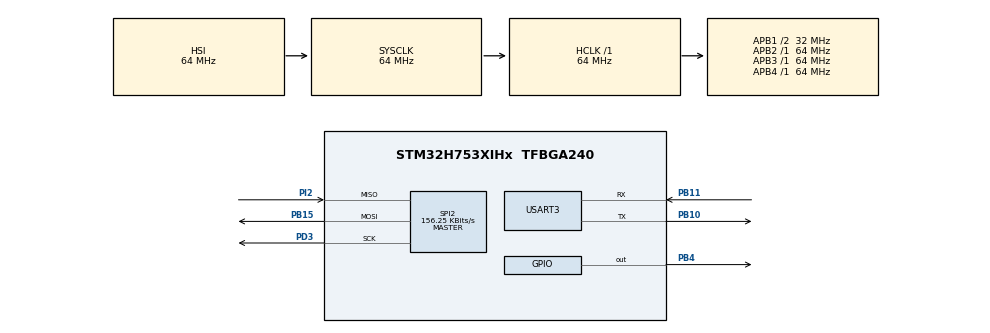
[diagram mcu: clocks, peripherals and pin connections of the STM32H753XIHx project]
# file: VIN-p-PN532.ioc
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CORTEX_M7.default_mode_Activation=1
Mcu.Family=STM32H7
Mcu.Name=STM32H753XIHx
Mcu.Package=TFBGA240
NVIC.PriorityGroup=NVIC_PRIORITYGROUP_4
PB10.Mode=Asynchronous
PB10.Signal=USART3_TX
PB11.Mode=Asynchronous
PB11.Signal=USART3_RX
PB15.Mode=Full_Duplex_Master
PB15.Signal=SPI2_MOSI
PB4\ (NJTRST).PinState=GPIO_PIN_SET
PB4\ (NJTRST).Signal=GPIO_Output
PD3.Mode=Full_Duplex_Master
PD3.Signal=SPI2_SCK
PI2.Mode=Full_Duplex_Master
PI2.Signal=SPI2_MISO
ProjectManager.HeapSize=0x200
ProjectManager.StackSize=0x400
ProjectManager.TargetToolchain=STM32CubeIDE
RCC.ADCFreq_Value=129000000
RCC.APB1Freq_Value=32000000
RCC.APB2Freq_Value=64000000
RCC.APB3Freq_Value=64000000
RCC.APB4Freq_Value=64000000
RCC.CortexFreq_Value=64000000
RCC.D2PPRE1=RCC_APB1_DIV2
RCC.DIVM1=4
RCC.DIVN1=10
RCC.DIVQ1=4
RCC.HCLKFreq_Value=64000000
RCC.SYSCLKFreq_VALUE=64000000
RCC.USBFreq_Value=40000000
SPI2.BaudRatePrescaler=SPI_BAUDRATEPRESCALER_256
SPI2.CalculateBaudRate=156.25 KBits/s
SPI2.DataSize=SPI_DATASIZE_8BIT
SPI2.Direction=SPI_DIRECTION_2LINES
SPI2.FirstBit=SPI_FIRSTBIT_LSB
SPI2.Mode=SPI_MODE_MASTER
SPI2.NSSPMode=SPI_NSS_PULSE_DISABLE
SPI2.VirtualType=VM_MASTER
USART3.VirtualMode-Asynchronous=VM_ASYNC
VP_MEMORYMAP_VS_MEMORYMAP.Mode=CurAppReg
board=custom

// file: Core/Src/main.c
/* USER CODE BEGIN Header */
/**
  ******************************************************************************
  * @file           : main.c
  * @brief          : Main program body
  ******************************************************************************
  * @attention
  *
  * Copyright (c) 2025 STMicroelectronics.
  * All rights reserved.
  *
  * This software is licensed under terms that can be found in the LICENSE file
  * in the root directory of this software component.
  * If no LICENSE file comes with this software, it is provided AS-IS.
  *
  ******************************************************************************
  */
/* USER CODE END Header */
#include "main.h"

/* USER CODE BEGIN Includes */
#include "PN532.h"
#include "spi_pattern.h"
/* USER CODE END Includes */

SPI_HandleTypeDef hspi2;

UART_HandleTypeDef huart3;

/* USER CODE BEGIN PV */
uint8_t uid[] = { 0, 0, 0, 0, 0, 0, 0 };  // Buffer to store the returned UID
uint8_t uidLength;                        // Length of the UID (4 or 7 bytes depending on ISO14443A card type)

uint32_t firmwareVersion = 0;

StatusCode532_t statusCode;

uint8_t txFWversion[128];
uint8_t txUIDLength[128];
uint8_t txUID[32];
uint8_t txData[256];

/* USER CODE END PV */

void SystemClock_Config(void);
static void MPU_Config(void);
static void MX_GPIO_Init(void);
static void MX_SPI2_Init(void);
static void MX_USART3_UART_Init(void);

int main(void)
{

  /* MPU Configuration--------------------------------------------------------*/
  MPU_Config();

  /* MCU Configuration--------------------------------------------------------*/

  /* Reset of all peripherals, Initializes the Flash interface and the Systick. */
  HAL_Init();

  /* Configure the system clock */
  SystemClock_Config();

  /* Initialize all configured peripherals */
  MX_GPIO_Init();
  MX_SPI2_Init();
  MX_USART3_UART_Init();
  /* USER CODE BEGIN 2 */

/*
  while(1){
	  HAL_SPI_Transmit(&hspi2, spi_pattern, sizeof(spi_pattern), HAL_MAX_DELAY);
  }
  */

  //PN532_SPI_Init();
  //oscilloscopeLoop();

  /*****************************************************************************************************
   * 1. Wake-up PN532 and check if it is available by getting its firmware version
   *****************************************************************************************************/
  HAL_UART_Transmit(&huart3, "\nLooking for PN532... \n\0", sizeof("\nLooking for PN532... \n\0"), HAL_MAX_DELAY);
  PN532_SPI_Init();
  while(1) {
	  firmwareVersion = PN532_getFirmwareVersion();
	  if (firmwareVersion != STATUS_532_ERROR) {               // if not able to read version number, quit
		  break;
	  }
	  HAL_Delay(250);
  }

  sprintf(txFWversion, "\nPN532 found. Firmware version: 0x%08X \n\0", firmwareVersion);
  HAL_UART_Transmit(&huart3, txFWversion, sizeof(txFWversion), HAL_MAX_DELAY);

  /*****************************************************************************************************
   * 2. Configure SAM: set normal operation mode and initialize the RF interface
   *****************************************************************************************************/

  HAL_UART_Transmit(&huart3, "\nConfiguring SAM.... \n\0", sizeof("\nConfiguring SAM.... \n\0"), HAL_MAX_DELAY);
  while (PN532_SAMConfiguration() != STATUS_532_OK){
	  HAL_Delay(100);
  }
  HAL_UART_Transmit(&huart3, "\nSAM configured.\n\0", sizeof("\nSAM configured.\n\0"), HAL_MAX_DELAY);

  /* USER CODE END 2 */

  /* Infinite loop */
  /* USER CODE BEGIN WHILE */

  /*****************************************************************************************************
   * 3. Every second check if there is a RFID target present and read the UID
   *****************************************************************************************************/

  while (1)
  {
		statusCode = InListPassiveTarget(uid, &uidLength);
		if (statusCode == STATUS_532_OK) {

			sprintf(txUIDLength, "\nUID Length: %d \n\0", uidLength);
			HAL_UART_Transmit(&huart3, txUIDLength, sizeof(txUIDLength), HAL_MAX_DELAY);
			HAL_UART_Transmit(&huart3, "UID: ", sizeof("UID: "), HAL_MAX_DELAY);
			for (int i = 0; i < uidLength; i++) {
				sprintf(txUID, "0x%X ", uid[i]);
				HAL_UART_Transmit(&huart3, txUID, sizeof(txUID), HAL_MAX_DELAY);
			}
		}
		HAL_Delay(1000);
    /* USER CODE END WHILE */

  }
}

void SystemClock_Config(void)
{
  RCC_OscInitTypeDef RCC_OscInitStruct = {0};
  RCC_ClkInitTypeDef RCC_ClkInitStruct = {0};

  /** Supply configuration update enable
  */
  HAL_PWREx_ConfigSupply(PWR_LDO_SUPPLY);

  /** Configure the main internal regulator output voltage
  */
  __HAL_PWR_VOLTAGESCALING_CONFIG(PWR_REGULATOR_VOLTAGE_SCALE3);

  while(!__HAL_PWR_GET_FLAG(PWR_FLAG_VOSRDY)) {}

  /** Initializes the RCC Oscillators according to the specified parameters
  * in the RCC_OscInitTypeDef structure.
  */
  RCC_OscInitStruct.OscillatorType = RCC_OSCILLATORTYPE_HSI;
  RCC_OscInitStruct.HSIState = RCC_HSI_DIV1;
  RCC_OscInitStruct.HSICalibrationValue = RCC_HSICALIBRATION_DEFAULT;
  RCC_OscInitStruct.PLL.PLLState = RCC_PLL_ON;
  RCC_OscInitStruct.PLL.PLLSource = RCC_PLLSOURCE_HSI;
  RCC_OscInitStruct.PLL.PLLM = 4;
  RCC_OscInitStruct.PLL.PLLN = 10;
  RCC_OscInitStruct.PLL.PLLP = 2;
  RCC_OscInitStruct.PLL.PLLQ = 4;
  RCC_OscInitStruct.PLL.PLLR = 2;
  RCC_OscInitStruct.PLL.PLLRGE = RCC_PLL1VCIRANGE_3;
  RCC_OscInitStruct.PLL.PLLVCOSEL = RCC_PLL1VCOMEDIUM;
  RCC_OscInitStruct.PLL.PLLFRACN = 0;
  if (HAL_RCC_OscConfig(&RCC_OscInitStruct) != HAL_OK)
  {
    Error_Handler();
  }

  /** Initializes the CPU, AHB and APB buses clocks
  */
  RCC_ClkInitStruct.ClockType = RCC_CLOCKTYPE_HCLK|RCC_CLOCKTYPE_SYSCLK
                              |RCC_CLOCKTYPE_PCLK1|RCC_CLOCKTYPE_PCLK2
                              |RCC_CLOCKTYPE_D3PCLK1|RCC_CLOCKTYPE_D1PCLK1;
  RCC_ClkInitStruct.SYSCLKSource = RCC_SYSCLKSOURCE_HSI;
  RCC_ClkInitStruct.SYSCLKDivider = RCC_SYSCLK_DIV1;
  RCC_ClkInitStruct.AHBCLKDivider = RCC_HCLK_DIV1;
  RCC_ClkInitStruct.APB3CLKDivider = RCC_APB3_DIV1;
  RCC_ClkInitStruct.APB1CLKDivider = RCC_APB1_DIV2;
  RCC_ClkInitStruct.APB2CLKDivider = RCC_APB2_DIV1;
  RCC_ClkInitStruct.APB4CLKDivider = RCC_APB4_DIV1;

  if (HAL_RCC_ClockConfig(&RCC_ClkInitStruct, FLASH_LATENCY_1) != HAL_OK)
  {
    Error_Handler();
  }
}

static void MX_SPI2_Init(void)
{

  /* SPI2 parameter configuration*/
  hspi2.Instance = SPI2;
  hspi2.Init.Mode = SPI_MODE_MASTER;
  hspi2.Init.Direction = SPI_DIRECTION_2LINES;
  hspi2.Init.DataSize = SPI_DATASIZE_8BIT;
  hspi2.Init.CLKPolarity = SPI_POLARITY_LOW;
  hspi2.Init.CLKPhase = SPI_PHASE_1EDGE;
  hspi2.Init.NSS = SPI_NSS_SOFT;
  hspi2.Init.BaudRatePrescaler = SPI_BAUDRATEPRESCALER_256;
  hspi2.Init.FirstBit = SPI_FIRSTBIT_LSB;
  hspi2.Init.TIMode = SPI_TIMODE_DISABLE;
  hspi2.Init.CRCCalculation = SPI_CRCCALCULATION_DISABLE;
  hspi2.Init.CRCPolynomial = 0x0;
  hspi2.Init.NSSPMode = SPI_NSS_PULSE_DISABLE;
  hspi2.Init.NSSPolarity = SPI_NSS_POLARITY_LOW;
  hspi2.Init.FifoThreshold = SPI_FIFO_THRESHOLD_01DATA;
  hspi2.Init.TxCRCInitializationPattern = SPI_CRC_INITIALIZATION_ALL_ZERO_PATTERN;
  hspi2.Init.RxCRCInitializationPattern = SPI_CRC_INITIALIZATION_ALL_ZERO_PATTERN;
  hspi2.Init.MasterSSIdleness = SPI_MASTER_SS_IDLENESS_00CYCLE;
  hspi2.Init.MasterInterDataIdleness = SPI_MASTER_INTERDATA_IDLENESS_00CYCLE;
  hspi2.Init.MasterReceiverAutoSusp = SPI_MASTER_RX_AUTOSUSP_DISABLE;
  hspi2.Init.MasterKeepIOState = SPI_MASTER_KEEP_IO_STATE_DISABLE;
  hspi2.Init.IOSwap = SPI_IO_SWAP_DISABLE;
  if (HAL_SPI_Init(&hspi2) != HAL_OK)
  {
    Error_Handler();
  }
  /* USER CODE BEGIN SPI2_Init 2 */
  hspi2.Init.BaudRatePrescaler = SPI_BAUDRATEPRESCALER_256;
  if (HAL_SPI_Init(&hspi2) != HAL_OK)
  {
    Error_Handler();
  }
  /* USER CODE END SPI2_Init 2 */

}

static void MX_USART3_UART_Init(void)
{

  huart3.Instance = USART3;
  huart3.Init.BaudRate = 115200;
  huart3.Init.WordLength = UART_WORDLENGTH_8B;
  huart3.Init.StopBits = UART_STOPBITS_1;
  huart3.Init.Parity = UART_PARITY_NONE;
  huart3.Init.Mode = UART_MODE_TX_RX;
  huart3.Init.HwFlowCtl = UART_HWCONTROL_NONE;
  huart3.Init.OverSampling = UART_OVERSAMPLING_16;
  huart3.Init.OneBitSampling = UART_ONE_BIT_SAMPLE_DISABLE;
  huart3.Init.ClockPrescaler = UART_PRESCALER_DIV1;
  huart3.AdvancedInit.AdvFeatureInit = UART_ADVFEATURE_NO_INIT;
  if (HAL_UART_Init(&huart3) != HAL_OK)
  {
    Error_Handler();
  }
  if (HAL_UARTEx_SetTxFifoThreshold(&huart3, UART_TXFIFO_THRESHOLD_1_8) != HAL_OK)
  {
    Error_Handler();
  }
  if (HAL_UARTEx_SetRxFifoThreshold(&huart3, UART_RXFIFO_THRESHOLD_1_8) != HAL_OK)
  {
    Error_Handler();
  }
  if (HAL_UARTEx_DisableFifoMode(&huart3) != HAL_OK)
  {
    Error_Handler();
  }

}

static void MX_GPIO_Init(void)
{
  GPIO_InitTypeDef GPIO_InitStruct = {0};

  /* GPIO Ports Clock Enable */
  __HAL_RCC_GPIOB_CLK_ENABLE();
  __HAL_RCC_GPIOD_CLK_ENABLE();
  __HAL_RCC_GPIOI_CLK_ENABLE();

  /*Configure GPIO pin Output Level */
  HAL_GPIO_WritePin(GPIOB, GPIO_PIN_4, GPIO_PIN_SET);

  /*Configure GPIO pin : PB4 */
  GPIO_InitStruct.Pin = GPIO_PIN_4;
  GPIO_InitStruct.Mode = GPIO_MODE_OUTPUT_PP;
  GPIO_InitStruct.Pull = GPIO_NOPULL;
  GPIO_InitStruct.Speed = GPIO_SPEED_FREQ_LOW;
  HAL_GPIO_Init(GPIOB, &GPIO_InitStruct);

}

 /* MPU Configuration */

void MPU_Config(void)
{
  MPU_Region_InitTypeDef MPU_InitStruct = {0};

  /* Disables the MPU */
  HAL_MPU_Disable();

  /** Initializes and configures the Region and the memory to be protected
  */
  MPU_InitStruct.Enable = MPU_REGION_ENABLE;
  MPU_InitStruct.Number = MPU_REGION_NUMBER0;
  MPU_InitStruct.BaseAddress = 0x0;
  MPU_InitStruct.Size = MPU_REGION_SIZE_4GB;
  MPU_InitStruct.SubRegionDisable = 0x87;
  MPU_InitStruct.TypeExtField = MPU_TEX_LEVEL0;
  MPU_InitStruct.AccessPermission = MPU_REGION_NO_ACCESS;
  MPU_InitStruct.DisableExec = MPU_INSTRUCTION_ACCESS_DISABLE;
  MPU_InitStruct.IsShareable = MPU_ACCESS_SHAREABLE;
  MPU_InitStruct.IsCacheable = MPU_ACCESS_NOT_CACHEABLE;
  MPU_InitStruct.IsBufferable = MPU_ACCESS_NOT_BUFFERABLE;

  HAL_MPU_ConfigRegion(&MPU_InitStruct);
  /* Enables the MPU */
  HAL_MPU_Enable(MPU_PRIVILEGED_DEFAULT);

}

void Error_Handler(void)
{
  __disable_irq();
  while (1)
  {
  }
}
